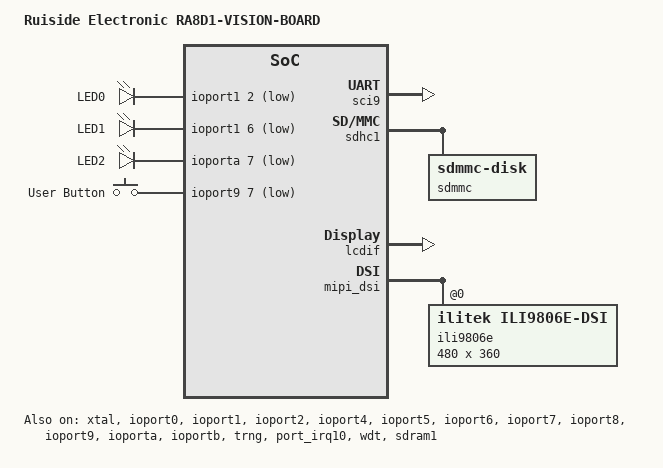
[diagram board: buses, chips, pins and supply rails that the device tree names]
/*
 * Copyright (c) 2025 Shan Pen <bricle031@gmail.com>
 * SPDX-License-Identifier: Apache-2.0
 */

/dts-v1/;

#include <renesas/ra/ra8/r7fa8d1bhecbd.dtsi>
#include <dt-bindings/gpio/gpio.h>
#include <dt-bindings/input/input-event-codes.h>
#include <zephyr/dt-bindings/memory-attr/memory-attr-arm.h>
#include <zephyr/dt-bindings/memory-controller/renesas,ra-sdram.h>
#include "ra8d1_vision_board-pinctrl.dtsi"
#include <zephyr/dt-bindings/display/panel.h>

/ {
	model = "Ruiside Electronic RA8D1-VISION-BOARD";
	compatible = "ruiside,ra8d1-vision-board";

	chosen {
		zephyr,sram = &sram0;
		zephyr,flash = &flash0;
		zephyr,console = &uart9;
		zephyr,shell-uart = &uart9;
		zephyr,entropy = &trng;
		zephyr,flash-controller = &flash;
		zephyr,display = &zephyr_lcdif;
	};

	leds {
		compatible = "gpio-leds";

		led0: led0 {
			gpios = <&ioport1 2 GPIO_ACTIVE_LOW>;
			label = "LED0";
		};

		led1: led1 {
			gpios = <&ioport1 6 GPIO_ACTIVE_LOW>;
			label = "LED1";
		};

		led2: led2 {
			gpios = <&ioporta 7 GPIO_ACTIVE_LOW>;
			label = "LED2";
		};
	};

	buttons {
		compatible = "gpio-keys";

		user_button: button_0 {
			gpios = <&ioport9 7 GPIO_ACTIVE_LOW>;
			label = "User Button";
			zephyr,code = <INPUT_KEY_0>;
		};
	};

	sdram1: sdram@68000000 {
		compatible = "zephyr,memory-region", "mmio-sram";
		reg = <0x68000000 DT_SIZE_M(32)>;
		zephyr,memory-region = "SDRAM";
		zephyr,memory-attr = <( DT_MEM_ARM(ATTR_MPU_RAM_NOCACHE) )>;
		status = "okay";
	};

	aliases {
		led0 = &led0;
		sw0 = &user_button;
		watchdog0 = &wdt;
		sdhc0 = &sdhc1;
	};
};

&xtal {
	clock-frequency = <DT_FREQ_M(20)>;
	mosel = <0>;
	#clock-cells = <0>;
	status = "okay";
};

&subclk {
	status = "okay";
};

&pll {
	status = "okay";

	pllp {
		status = "okay";
	};

	pllq {
		div = <4>;
		freq = <DT_FREQ_M(240)>;
		status = "okay";
	};

	pllr {
		status = "okay";
	};
};

&pll2 {
	status = "okay";
	clocks = <&xtal>;
	div = <1>;
	mul = <48 0>;

	pll2r {
		status = "okay";
		freq = <DT_FREQ_M(480)>;
		div = <2>;
	};
};

&sciclk {
	clocks = <&pllp>;
	div = <4>;
	status = "okay";
};

&uclk {
	clocks = <&pllq>;
	div = <5>;
	status = "okay";
};

&lcdclk {
	clocks = <&pll2r>;
	div = <2>;
	status = "okay";
};

&ioport0 {
	status = "okay";
};

&ioport1 {
	status = "okay";
};

&ioport2 {
	status = "okay";
};

&ioport4 {
	status = "okay";
};

&ioport5 {
	status = "okay";
};

&ioport6 {
	status = "okay";
};

&ioport7 {
	status = "okay";
};

&ioport8 {
	status = "okay";
};

&ioport9 {
	status = "okay";
};

&ioporta {
	status = "okay";
};

&ioportb {
	status = "okay";
};

&sci9 {
	pinctrl-0 = <&sci9_default>;
	pinctrl-names = "default";
	status = "okay";

	uart9: uart {
		current-speed = <115200>;
		status = "okay";
	};
};

&trng {
	status = "okay";
};

&flash1 {
	partitions {
		compatible = "fixed-partitions";
		#address-cells = <1>;
		#size-cells = <1>;

		storage_partition: partition@0 {
			label = "storage";
			reg = <0X0 DT_SIZE_K(12)>;
		};
	};
};

&port_irq10 {
	interrupts = <86 12>;
	status = "okay";
};

&sdram {
	pinctrl-0 = <&sdram_default>;
	pinctrl-names = "default";
	status = "okay";
	auto-refresh-interval = <SDRAM_AUTO_REFREDSH_INTERVEL_10CYCLES>;
	auto-refresh-count = <SDRAM_AUTO_REFREDSH_COUNT_8TIMES>;
	precharge-cycle-count = <SDRAM_AUTO_PRECHARGE_CYCLE_3CYCLES>;
	multiplex-addr-shift = "9-bit";
	edian-mode = "little-endian";
	continuous-access;
	bus-width = "16-bit";

	bank@0 {
		reg = <0>;
		renesas,ra-sdram-timing = <SDRAM_TRAS_4CYCLES
		SDRAM_TRCD_2CYCLES
		SDRAM_TRP_2CYCLES
		SDRAM_TWR_2CYCLES
		SDRAM_TCL_3CYCLES
		937
		SDRAM_TREFW_8CYCLES>;
	};
};

&sdhc1 {
	pinctrl-names = "default";
	interrupt-names = "accs", "card", "dma-req";
	interrupts = <60 12>, <61 12>, <62 12>;
	pinctrl-0 = <&sdhc1_default>;
	status = "okay";
	/delete-property/ card-detect;

	sdmmc {
		compatible = "zephyr,sdmmc-disk";
		disk-name = "SD";
		status = "okay";
	};
};

&wdt {
	status = "okay";
};

zephyr_lcdif: &lcdif {
	input-pixel-format = <PANEL_PIXEL_FORMAT_RGB_565>;
	status = "okay";
	width = <480>;
	height = <360>;
	// input-pixel-format = <PANEL_PIXEL_FORMAT_RGB_888>;
	output-pixel-format = <PANEL_PIXEL_FORMAT_RGB_565>;
	output-clock-divisor = <8>;
	display-timings {
		compatible = "zephyr,panel-timing";
		hsync-active = <0>;          /* 高电平有效 -> 设置为0（低电平为非激活态） */
		vsync-active = <0>;          /* 高电平有效 -> 设置为0 */
		de-active = <1>;
		syncclk-active = <1>;
		pixelclk-active = <0>;
		hback-porch = <20>;
		hsync-len = <4>;
		hfront-porch = <10>;
		vback-porch = <10>;
		vsync-len = <4>;
		vfront-porch = <8>;
		// clock-frequency = <DT_FREQ_M(40)>;
	};

	backlight-gpios = <&ioporta 11 GPIO_ACTIVE_HIGH>;
};

zephyr_mipi_dsi: &mipi_dsi {
	status = "okay";
	pll-div = <1>;
	pll-mul-int = <50>;
	pll-mul-frac = "0.00";
	lp-divisor = <5>;
	ulps-wakeup-period = <97>;
	video-mode-delay = <206>;
	timing = <1183 11 26 40>;

	phys-timing {
		t-init = <71999>;
		t-clk-prep = <8>;
		t-hs-prep = <5>;
		t-lp-exit = <7>;
		dphytim4 = <27 1 19 7>;
		dphytim5 = <19 8 11>;
	};
	ili9806e: ili9806e@0 {
		status = "okay";
		compatible = "ilitek,ili9806e-dsi";
		reg = <0x0>;
		height = <360>;
		width = <480>;
		data-lanes = <2>;
		pixel-format = <MIPI_DSI_PIXFMT_RGB565>;
	};
	// status = "okay";
	// st7701: st7701@0 {
	// 	    status = "okay";
	// 	    compatible = "sitronix,st7701";
	// 	    reg = <0x0>;
	// 	    height = <360>;
	// 	    width = <480>;
	// 	    data-lanes = <2>;
	// 	    pixel-format = <MIPI_DSI_PIXFMT_RGB565>;
	// 	    rotation = <0>;
	// 	    gip-e0 = [ E0 00 00 02  ];
	// 	    gip-e1 = [ E1 08 00 0A 00 07 00 09 00 00 33 33  ];
	// 	    gip-e2 = [ E2 00 00 00 00 00 00 00 00 00 00 00 00 00  ];
	// 	    gip-e3 = [ E3 00 00 33 33  ];
	// 	    gip-e4 = [ E4 44 44  ];
	// 	    gip-e5 = [ E5 0E 60 A0 A0 10 60 A0 A0 0A 60 A0 A0 0C 60 A0 A0  ];
	// 	    gip-e6 = [ E6 00 00 33 33  ];
	// 	    gip-e7 = [ E7 44 44  ];
	// 	    gip-e8 = [ E8 0D 60 A0 A0 0F 60 A0 A0 09 60 A0 A0 0B 60 A0 A0  ];
	// 	    gip-eb = [ EB 02 01 E4 E4 44 00 40  ];
	// 	    gip-ec = [ EC 02 01  ];
	// 	    gip-ed = [ ED AB 89 76 54 01 FF FF FF FF FF FF 10 45 67 98 BA  ];
	// 	    gip-ed = [ ED AB 89 76 54 01 FF FF FF FF FF FF 10 45 67 98 BA  ];
	// 	    pvgamctrl = [ B0 40 C9 91 0D 12 07 02 09 09 1F 04 50 0F E4 29 DF  ];
	// 	    nvgamctrl = [ B1 40 CB D0 11 92 07 00 08 07 1C 06 53 12 63 EB DF  ];

	// 	    display-timings {
	// 		        compatible = "zephyr,panel-timing";
	// 		        hsync-active = <0>;          /* 高电平有效 -> 设置为0（低电平为非激活态） */
	// 		        vsync-active = <0>;          /* 高电平有效 -> 设置为0 */
	// 		        de-active = <0>;
	// 		        pixelclk-active = <0>;
	// 		        hback-porch = <16>;
	// 		        hsync-len = <4>;
	// 		        hfront-porch = <10>;
	// 		        vback-porch = <6>;
	// 		        vsync-len = <4>;
	// 		        vfront-porch = <8>;
	// 	    };

	// };
};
